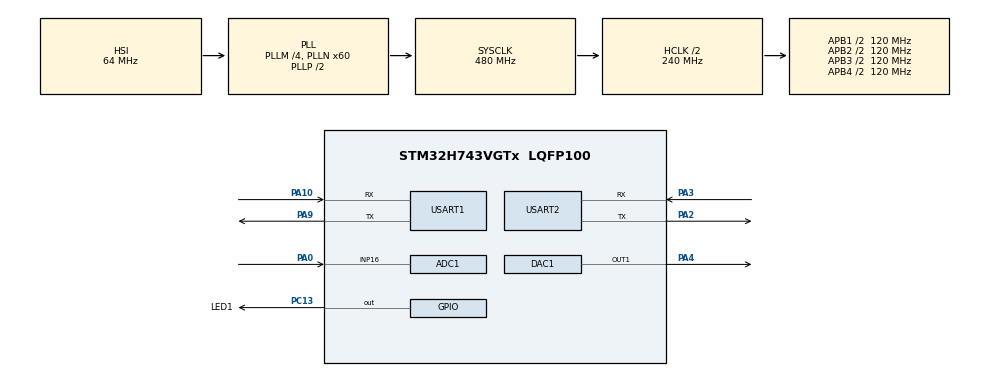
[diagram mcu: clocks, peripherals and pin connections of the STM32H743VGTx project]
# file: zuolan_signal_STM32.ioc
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ADC1.Channel-0\#ChannelRegularConversion=ADC_CHANNEL_16
ADC1.ClockPrescaler=ADC_CLOCK_ASYNC_DIV4
ADC1.ContinuousConvMode=DISABLE
ADC1.ConversionDataManagement=ADC_CONVERSIONDATA_DMA_CIRCULAR
ADC1.ExternalTrigConv=ADC_EXTERNALTRIG_T2_TRGO
ADC1.NbrOfConversionFlag=1
ADC1.OffsetNumber-0\#ChannelRegularConversion=ADC_OFFSET_NONE
ADC1.OffsetSignedSaturation-0\#ChannelRegularConversion=DISABLE
ADC1.Overrun=ADC_OVR_DATA_OVERWRITTEN
ADC1.Rank-0\#ChannelRegularConversion=1
ADC1.SamplingTime-0\#ChannelRegularConversion=ADC_SAMPLETIME_387CYCLES_5
ADC1.master=1
CORTEX_M7.CPU_ICache=Enabled
CORTEX_M7.default_mode_Activation=1
DAC1.DAC_Channel-DAC_OUT1=DAC_CHANNEL_1
DAC1.DAC_Trigger-DAC_OUT1=DAC_TRIGGER_T6_TRGO
Dma.ADC1.2.Direction=DMA_PERIPH_TO_MEMORY
Dma.ADC1.2.EventEnable=DISABLE
Dma.ADC1.2.FIFOMode=DMA_FIFOMODE_DISABLE
Dma.ADC1.2.Instance=DMA1_Stream3
Dma.ADC1.2.MemDataAlignment=DMA_MDATAALIGN_HALFWORD
Dma.ADC1.2.MemInc=DMA_MINC_ENABLE
Dma.ADC1.2.Mode=DMA_CIRCULAR
Dma.ADC1.2.PeriphDataAlignment=DMA_PDATAALIGN_HALFWORD
Dma.ADC1.2.PeriphInc=DMA_PINC_DISABLE
Dma.ADC1.2.Polarity=HAL_DMAMUX_REQ_GEN_RISING
Dma.ADC1.2.Priority=DMA_PRIORITY_HIGH
Dma.ADC1.2.RequestNumber=1
Dma.ADC1.2.SignalID=NONE
Dma.ADC1.2.SyncEnable=DISABLE
Dma.ADC1.2.SyncPolarity=HAL_DMAMUX_SYNC_NO_EVENT
Dma.ADC1.2.SyncRequestNumber=1
Dma.ADC1.2.SyncSignalID=NONE
Dma.DAC1_CH1.3.Direction=DMA_MEMORY_TO_PERIPH
Dma.DAC1_CH1.3.EventEnable=DISABLE
Dma.DAC1_CH1.3.FIFOMode=DMA_FIFOMODE_DISABLE
Dma.DAC1_CH1.3.Instance=DMA1_Stream2
Dma.DAC1_CH1.3.MemDataAlignment=DMA_MDATAALIGN_HALFWORD
Dma.DAC1_CH1.3.MemInc=DMA_MINC_ENABLE
Dma.DAC1_CH1.3.Mode=DMA_CIRCULAR
Dma.DAC1_CH1.3.PeriphDataAlignment=DMA_PDATAALIGN_HALFWORD
Dma.DAC1_CH1.3.PeriphInc=DMA_PINC_DISABLE
Dma.DAC1_CH1.3.Polarity=HAL_DMAMUX_REQ_GEN_RISING
Dma.DAC1_CH1.3.Priority=DMA_PRIORITY_LOW
Dma.DAC1_CH1.3.RequestNumber=1
Dma.DAC1_CH1.3.SignalID=NONE
Dma.DAC1_CH1.3.SyncEnable=DISABLE
Dma.DAC1_CH1.3.SyncPolarity=HAL_DMAMUX_SYNC_NO_EVENT
Dma.DAC1_CH1.3.SyncRequestNumber=1
Dma.DAC1_CH1.3.SyncSignalID=NONE
Dma.Request0=USART1_RX
Dma.Request1=USART2_RX
Dma.Request2=ADC1
Dma.Request3=DAC1_CH1
Dma.USART1_RX.0.Direction=DMA_PERIPH_TO_MEMORY
Dma.USART1_RX.0.EventEnable=DISABLE
Dma.USART1_RX.0.FIFOMode=DMA_FIFOMODE_DISABLE
Dma.USART1_RX.0.Instance=DMA1_Stream0
Dma.USART1_RX.0.MemDataAlignment=DMA_MDATAALIGN_BYTE
Dma.USART1_RX.0.MemInc=DMA_MINC_ENABLE
Dma.USART1_RX.0.Mode=DMA_CIRCULAR
Dma.USART1_RX.0.PeriphDataAlignment=DMA_PDATAALIGN_BYTE
Dma.USART1_RX.0.PeriphInc=DMA_PINC_DISABLE
Dma.USART1_RX.0.Polarity=HAL_DMAMUX_REQ_GEN_RISING
Dma.USART1_RX.0.Priority=DMA_PRIORITY_HIGH
Dma.USART1_RX.0.RequestNumber=1
Dma.USART1_RX.0.SignalID=NONE
Dma.USART1_RX.0.SyncEnable=DISABLE
Dma.USART1_RX.0.SyncPolarity=HAL_DMAMUX_SYNC_NO_EVENT
Dma.USART1_RX.0.SyncRequestNumber=1
Dma.USART1_RX.0.SyncSignalID=NONE
Dma.USART2_RX.1.Direction=DMA_PERIPH_TO_MEMORY
Dma.USART2_RX.1.EventEnable=DISABLE
Dma.USART2_RX.1.FIFOMode=DMA_FIFOMODE_DISABLE
Dma.USART2_RX.1.Instance=DMA1_Stream1
Dma.USART2_RX.1.MemDataAlignment=DMA_MDATAALIGN_BYTE
Dma.USART2_RX.1.MemInc=DMA_MINC_ENABLE
Dma.USART2_RX.1.Mode=DMA_CIRCULAR
Dma.USART2_RX.1.PeriphDataAlignment=DMA_PDATAALIGN_BYTE
Dma.USART2_RX.1.PeriphInc=DMA_PINC_DISABLE
Dma.USART2_RX.1.Polarity=HAL_DMAMUX_REQ_GEN_RISING
Dma.USART2_RX.1.Priority=DMA_PRIORITY_HIGH
Dma.USART2_RX.1.RequestNumber=1
Dma.USART2_RX.1.SignalID=NONE
Dma.USART2_RX.1.SyncEnable=DISABLE
Dma.USART2_RX.1.SyncPolarity=HAL_DMAMUX_SYNC_NO_EVENT
Dma.USART2_RX.1.SyncRequestNumber=1
Dma.USART2_RX.1.SyncSignalID=NONE
Mcu.Family=STM32H7
Mcu.Name=STM32H743VGTx
Mcu.Package=LQFP100
NVIC.DMA1_Stream0_IRQn=true\:5\:0\:false\:false\:true\:false\:true\:true
NVIC.DMA1_Stream1_IRQn=true\:5\:0\:false\:false\:true\:false\:true\:true
NVIC.DMA1_Stream2_IRQn=true\:0\:0\:false\:false\:true\:false\:true\:true
NVIC.DMA1_Stream3_IRQn=true\:0\:0\:false\:false\:true\:false\:true\:true
NVIC.PriorityGroup=NVIC_PRIORITYGROUP_4
NVIC.USART1_IRQn=true\:5\:0\:false\:false\:true\:true\:true\:true
NVIC.USART2_IRQn=true\:5\:0\:false\:false\:true\:true\:true\:true
PA0.Mode=IN16-Single-Ended
PA0.Signal=ADC1_INP16
PA10.Mode=Asynchronous
PA10.Signal=USART1_RX
PA13\ (JTMS/SWDIO).Mode=Serial_Wire
PA13\ (JTMS/SWDIO).Signal=DEBUG_JTMS-SWDIO
PA14\ (JTCK/SWCLK).Mode=Serial_Wire
PA14\ (JTCK/SWCLK).Signal=DEBUG_JTCK-SWCLK
PA2.Mode=Asynchronous
PA2.Signal=USART2_TX
PA3.Mode=Asynchronous
PA3.Signal=USART2_RX
PA4.Signal=COMP_DAC11_group
PA9.Mode=Asynchronous
PA9.Signal=USART1_TX
PC13.GPIO_Label=LED1
PC13.GPIO_ModeDefaultOutputPP=GPIO_MODE_OUTPUT_PP
PC13.PinState=GPIO_PIN_SET
PC13.Signal=GPIO_Output
PC14-OSC32_IN\ (OSC32_IN).Mode=LSE-External-Oscillator
PC14-OSC32_IN\ (OSC32_IN).Signal=RCC_OSC32_IN
PC15-OSC32_OUT\ (OSC32_OUT).Mode=LSE-External-Oscillator
PC15-OSC32_OUT\ (OSC32_OUT).Signal=RCC_OSC32_OUT
PH0-OSC_IN\ (PH0).Mode=HSE-External-Oscillator
PH0-OSC_IN\ (PH0).Signal=RCC_OSC_IN
PH1-OSC_OUT\ (PH1).Mode=HSE-External-Oscillator
PH1-OSC_OUT\ (PH1).Signal=RCC_OSC_OUT
ProjectManager.HeapSize=0x200
ProjectManager.StackSize=0x400
ProjectManager.TargetToolchain=CMake
RCC.ADCCLockSelection=RCC_ADCCLKSOURCE_CLKP
RCC.ADCFreq_Value=64000000
RCC.APB1Freq_Value=120000000
RCC.APB2Freq_Value=120000000
RCC.APB3Freq_Value=120000000
RCC.APB4Freq_Value=120000000
RCC.CortexFreq_Value=480000000
RCC.D1PPRE=RCC_APB3_DIV2
RCC.D2PPRE1=RCC_APB1_DIV2
RCC.D2PPRE2=RCC_APB2_DIV2
RCC.D3PPRE=RCC_APB4_DIV2
RCC.DIVM1=4
RCC.DIVM2=4
RCC.DIVN1=60
RCC.DIVN2=9
RCC.HCLKFreq_Value=240000000
RCC.HPRE=RCC_HCLK_DIV2
RCC.PLL2FRACN=0
RCC.PLLFRACN=0
RCC.SYSCLKFreq_VALUE=480000000
RCC.SYSCLKSource=RCC_SYSCLKSOURCE_PLLCLK
RCC.USBFreq_Value=480000000
SH.COMP_DAC11_group.0=DAC1_OUT1,DAC_OUT1
TIM2.Period=99
TIM2.Prescaler=119
TIM2.TIM_MasterOutputTrigger=TIM_TRGO_UPDATE
TIM6.Period=9
TIM6.Prescaler=119
TIM6.TIM_MasterOutputTrigger=TIM_TRGO_UPDATE
USART1.VirtualMode-Asynchronous=VM_ASYNC
USART2.VirtualMode-Asynchronous=VM_ASYNC
VP_MEMORYMAP_VS_MEMORYMAP.Mode=CurAppReg
VP_TIM2_VS_ClockSourceINT.Mode=Internal
VP_TIM6_VS_ClockSourceINT.Mode=Enable_Timer
board=custom

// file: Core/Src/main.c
/* USER CODE BEGIN Header */
/**
 ******************************************************************************
 * @file           : main.c
 * @brief          : Main program body
 ******************************************************************************
 * @attention
 *
 * Copyright (c) 2026 STMicroelectronics.
 * All rights reserved.
 *
 * This software is licensed under terms that can be found in the LICENSE file
 * in the root directory of this software component.
 * If no LICENSE file comes with this software, it is provided AS-IS.
 *
 ******************************************************************************
 */
/* USER CODE END Header */
#include "main.h"
#include "adc.h"
#include "dac.h"
#include "dma.h"
#include "tim.h"
#include "usart.h"
#include "gpio.h"

/* USER CODE BEGIN Includes */
#include "adc_app.h"
#include "dac_app.h"
#include "led.h"
#include "scheduler.h"
#include "uart.h"

/* USER CODE END Includes */

/* USER CODE BEGIN PV */
static task_handle_t adc_task_handle = INVALID_TASK_HANDLE;
static task_handle_t led_task_handle = INVALID_TASK_HANDLE;
static task_handle_t uart_task_handle = INVALID_TASK_HANDLE;

/* USER CODE END PV */

void SystemClock_Config(void);
void PeriphCommonClock_Config(void);
static void MPU_Config(void);

int main(void)
{

  /* MPU Configuration--------------------------------------------------------*/
  MPU_Config();

  /* Enable the CPU Cache */

  /* Enable I-Cache---------------------------------------------------------*/
  SCB_EnableICache();

  /* MCU Configuration--------------------------------------------------------*/

  /* Reset of all peripherals, Initializes the Flash interface and the Systick. */
  HAL_Init();

  /* Configure the system clock */
  SystemClock_Config();

  /* Configure the peripherals common clocks */
  PeriphCommonClock_Config();

  /* Initialize all configured peripherals */
  MX_GPIO_Init();
  MX_DMA_Init();
  MX_USART1_UART_Init();
  MX_USART2_UART_Init();
  MX_TIM6_Init();
  MX_ADC1_Init();
  MX_DAC1_Init();
  MX_TIM2_Init();
  /* USER CODE BEGIN 2 */
  ADC_APP_Init();
  DAC_APP_Init();
  Scheduler_Init();
  LED_Init();
  UART_Init();
  adc_task_handle = Scheduler_AddTask(adc_proc, 1U, HAL_GetTick(), "adc");
  led_task_handle = Scheduler_AddTask(led_proc, 1U, HAL_GetTick(), "led");
  uart_task_handle = Scheduler_AddTask(uart_proc, 1U, HAL_GetTick(), "uart");
  (void)adc_task_handle;
  (void)led_task_handle;
  (void)uart_task_handle;

  /* USER CODE END 2 */

  /* Infinite loop */
  /* USER CODE BEGIN WHILE */
  while (1) {
    Scheduler_Run();
    /* USER CODE END WHILE */

  }
}

void SystemClock_Config(void)
{
  RCC_OscInitTypeDef RCC_OscInitStruct = {0};
  RCC_ClkInitTypeDef RCC_ClkInitStruct = {0};

  /** Supply configuration update enable
  */
  HAL_PWREx_ConfigSupply(PWR_LDO_SUPPLY);

  /** Configure the main internal regulator output voltage
  */
  __HAL_PWR_VOLTAGESCALING_CONFIG(PWR_REGULATOR_VOLTAGE_SCALE0);

  while(!__HAL_PWR_GET_FLAG(PWR_FLAG_VOSRDY)) {}

  /** Initializes the RCC Oscillators according to the specified parameters
  * in the RCC_OscInitTypeDef structure.
  */
  RCC_OscInitStruct.OscillatorType = RCC_OSCILLATORTYPE_HSI;
  RCC_OscInitStruct.HSIState = RCC_HSI_DIV1;
  RCC_OscInitStruct.HSICalibrationValue = RCC_HSICALIBRATION_DEFAULT;
  RCC_OscInitStruct.PLL.PLLState = RCC_PLL_ON;
  RCC_OscInitStruct.PLL.PLLSource = RCC_PLLSOURCE_HSI;
  RCC_OscInitStruct.PLL.PLLM = 4;
  RCC_OscInitStruct.PLL.PLLN = 60;
  RCC_OscInitStruct.PLL.PLLP = 2;
  RCC_OscInitStruct.PLL.PLLQ = 2;
  RCC_OscInitStruct.PLL.PLLR = 2;
  RCC_OscInitStruct.PLL.PLLRGE = RCC_PLL1VCIRANGE_3;
  RCC_OscInitStruct.PLL.PLLVCOSEL = RCC_PLL1VCOWIDE;
  RCC_OscInitStruct.PLL.PLLFRACN = 0;
  if (HAL_RCC_OscConfig(&RCC_OscInitStruct) != HAL_OK)
  {
    Error_Handler();
  }

  /** Initializes the CPU, AHB and APB buses clocks
  */
  RCC_ClkInitStruct.ClockType = RCC_CLOCKTYPE_HCLK|RCC_CLOCKTYPE_SYSCLK
                              |RCC_CLOCKTYPE_PCLK1|RCC_CLOCKTYPE_PCLK2
                              |RCC_CLOCKTYPE_D3PCLK1|RCC_CLOCKTYPE_D1PCLK1;
  RCC_ClkInitStruct.SYSCLKSource = RCC_SYSCLKSOURCE_PLLCLK;
  RCC_ClkInitStruct.SYSCLKDivider = RCC_SYSCLK_DIV1;
  RCC_ClkInitStruct.AHBCLKDivider = RCC_HCLK_DIV2;
  RCC_ClkInitStruct.APB3CLKDivider = RCC_APB3_DIV2;
  RCC_ClkInitStruct.APB1CLKDivider = RCC_APB1_DIV2;
  RCC_ClkInitStruct.APB2CLKDivider = RCC_APB2_DIV2;
  RCC_ClkInitStruct.APB4CLKDivider = RCC_APB4_DIV2;

  if (HAL_RCC_ClockConfig(&RCC_ClkInitStruct, FLASH_LATENCY_4) != HAL_OK)
  {
    Error_Handler();
  }
}

void PeriphCommonClock_Config(void)
{
  RCC_PeriphCLKInitTypeDef PeriphClkInitStruct = {0};

  /** Initializes the peripherals clock
  */
  PeriphClkInitStruct.PeriphClockSelection = RCC_PERIPHCLK_CKPER;
  PeriphClkInitStruct.CkperClockSelection = RCC_CLKPSOURCE_HSI;
  if (HAL_RCCEx_PeriphCLKConfig(&PeriphClkInitStruct) != HAL_OK)
  {
    Error_Handler();
  }
}

 /* MPU Configuration */

void MPU_Config(void)
{
  MPU_Region_InitTypeDef MPU_InitStruct = {0};

  /* Disables the MPU */
  HAL_MPU_Disable();

  /** Initializes and configures the Region and the memory to be protected
  */
  MPU_InitStruct.Enable = MPU_REGION_ENABLE;
  MPU_InitStruct.Number = MPU_REGION_NUMBER0;
  MPU_InitStruct.BaseAddress = 0x0;
  MPU_InitStruct.Size = MPU_REGION_SIZE_4GB;
  MPU_InitStruct.SubRegionDisable = 0x87;
  MPU_InitStruct.TypeExtField = MPU_TEX_LEVEL0;
  MPU_InitStruct.AccessPermission = MPU_REGION_NO_ACCESS;
  MPU_InitStruct.DisableExec = MPU_INSTRUCTION_ACCESS_DISABLE;
  MPU_InitStruct.IsShareable = MPU_ACCESS_SHAREABLE;
  MPU_InitStruct.IsCacheable = MPU_ACCESS_NOT_CACHEABLE;
  MPU_InitStruct.IsBufferable = MPU_ACCESS_NOT_BUFFERABLE;

  HAL_MPU_ConfigRegion(&MPU_InitStruct);
  /* Enables the MPU */
  HAL_MPU_Enable(MPU_PRIVILEGED_DEFAULT);

}

void Error_Handler(void)
{
  __disable_irq();
  while (1) {
  }
}
#ifdef USE_FULL_ASSERT
/**
  * @brief  Reports the name of the source file and the source line number
  *         where the assert_param error has occurred.
  * @param  file: pointer to the source file name
  * @param  line: assert_param error line source number
  * @retval None
  */
void assert_failed(uint8_t *file, uint32_t line)
{
  /* USER CODE BEGIN 6 */
  /* User can add his own implementation to report the file name and line
     number, ex: printf("Wrong parameters value: file %s on line %d\r\n", file,
     line) */
  /* USER CODE END 6 */
}
#endif /* USE_FULL_ASSERT */
